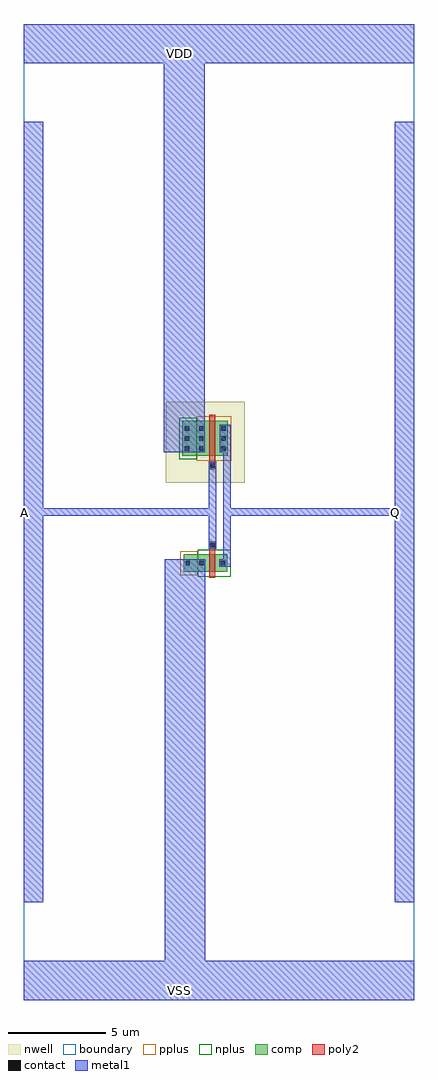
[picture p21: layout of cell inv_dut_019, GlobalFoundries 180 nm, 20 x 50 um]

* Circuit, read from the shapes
.subckt inv_dut_019 A Q VDD VSS
XM1 Q A VSS VSS nfet_03v3 w=0.9u l=0.3u
XM2 Q A VDD VDD pfet_03v3 w=1.8u l=0.3u
.ends

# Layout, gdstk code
from math import pi, radians
import gdstk
lib = gdstk.Library(unit=1e-6, precision=1e-09)
def R(c, l, rs):  # rectangles x0, y0, x1, y1
    for r in rs: c.add(gdstk.rectangle(r[:2], r[2:], *l))
def A(c, l, x, y, w, h, nx, ny, dx, dy):  # array of equal rectangles
    R(c, l, [(x+i*dx, y+j*dy, x+i*dx+w, y+j*dy+h) for i in range(nx) for j in range(ny)])
def P(c, l, *ps):  # polygons
    for p in ps: c.add(gdstk.Polygon(p, *l))
boundary = (0, 0)
nwell = (21, 0)
comp = (22, 0)
poly2 = (30, 0)
pplus = (31, 0)
nplus = (32, 0)
contact = (33, 0)
metal1 = (34, 0)

nfet_28 = lib.new_cell('nfet$28')
R(nfet_28, comp, [(-0.42,0,1.81,0.9)])
P(nfet_28, poly2, [(0.19,-0.3),(0.19,1.2),(0.16,1.2),(0.16,1.56),(0.52,1.56),(0.52,1.2),(0.49,1.2),(0.49,-0.3)])
R(nfet_28, pplus, [(1.1,-0.17,1.98,1.07)])
R(nfet_28, nplus, [(-0.59,-0.24,1.1,1.14)])
R(nfet_28, contact, [(-0.32,0.34,-0.1,0.56), (0.78,0.34,1,0.56), (1.49,0.34,1.71,0.56), (0.23,1.27,0.45,1.49)])
R(nfet_28, metal1, [(-0.4,0.26,-0.02,0.64), (0.7,0.26,1.08,0.64), (1.41,0.26,1.79,0.64), (0.15,1.19,0.53,1.57)])

pfet_26 = lib.new_cell('pfet$26')
R(pfet_26, nwell, [(-1.32,-0.99,2.73,3.17)])
R(pfet_26, comp, [(-0.46,0,1.87,1.8)])
P(pfet_26, poly2, [(0.19,-0.3),(0.19,2.1),(0.15,2.1),(0.15,2.48),(0.53,2.48),(0.53,2.1),(0.49,2.1),(0.49,-0.3)])
R(pfet_26, pplus, [(-0.63,-0.24,1.14,2.04)])
R(pfet_26, nplus, [(1.14,-0.17,2.04,1.97)])
A(pfet_26, contact, -0.34, 0.28, 0.22, 0.22, 1, 3, 0, 0.51)
A(pfet_26, contact, 0.8, 0.28, 0.22, 0.22, 1, 3, 0, 0.51)
A(pfet_26, contact, 1.53, 0.28, 0.22, 0.22, 1, 3, 0, 0.51)
R(pfet_26, contact, [(0.23,2.18,0.45,2.4)])
R(pfet_26, metal1, [(-0.42,0.2,-0.04,1.6), (0.72,0.2,1.1,1.6), (1.45,0.2,1.83,1.6), (0.15,2.1,0.53,2.48)])

inv_dut_019 = lib.new_cell('inv_dut_019')
R(inv_dut_019, boundary, [(-10,-25,10,25)])
R(inv_dut_019, metal1, [(-10,-25,10,-23), (-2.79,-23,-0.7,-2.43), (-10,-20,-9,20), (9,-20,10,20), (0.23,-2.81,0.61,4.47), (-0.53,-1.88,-0.15,2.57), (-9.5,-0.19,-0.15,0.19), (0.23,-0.19,9.5,0.19), (-2.83,3.07,-0.72,23), (-10,23,10,25)])
inv_dut_019.add(gdstk.Reference(nfet_28, (0,-3.07), rotation=pi, x_reflection=True))
inv_dut_019.add(gdstk.Reference(pfet_26, (0,4.67), rotation=pi))
inv_dut_019.add(gdstk.Label('VDD', (-2,23.5), layer=34, texttype=10))
inv_dut_019.add(gdstk.Label('VSS', (-2,-24.5), layer=34, texttype=10))
inv_dut_019.add(gdstk.Label('A', (-9.97,0), layer=34, texttype=10))
inv_dut_019.add(gdstk.Label('Q', (9.03,0), layer=34, texttype=10))

lib.write_gds('inv_dut_019.gds')
